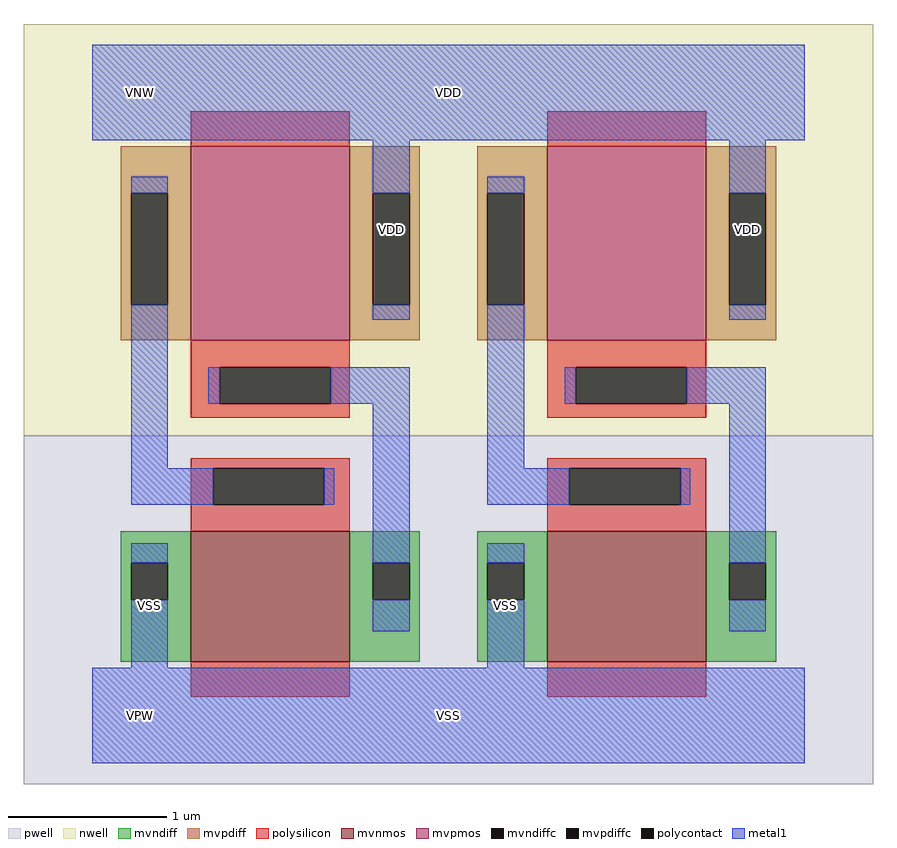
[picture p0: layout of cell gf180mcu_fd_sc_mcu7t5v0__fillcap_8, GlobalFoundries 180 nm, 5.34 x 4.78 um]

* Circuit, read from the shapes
.subckt gf180mcu_fd_sc_mcu7t5v0__fillcap_8 VDD VNW VPW VSS
XM1 n1 n2 VSS VPW nfet_06v0 w=0.82u l=1u
XM2 n3 n4 VSS VPW nfet_06v0 w=0.82u l=1u
XM3 VDD n1 n2 VNW pfet_06v0 w=1.22u l=1u
XM4 VDD n3 n4 VNW pfet_06v0 w=1.22u l=1u
.ends

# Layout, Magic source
magic
tech gf180mcuD
magscale 1 10
<< nwell >>
rect -86 352 982 870
<< pwell >>
rect -86 -86 982 352
<< mvnmos >>
rect 124 68 324 232
rect 572 68 772 232
<< mvpmos >>
rect 124 472 324 716
rect 572 472 772 716
<< mvndiff >>
rect 36 192 124 232
rect 36 146 49 192
rect 95 146 124 192
rect 36 68 124 146
rect 324 192 412 232
rect 324 146 353 192
rect 399 146 412 192
rect 324 68 412 146
rect 484 192 572 232
rect 484 146 497 192
rect 543 146 572 192
rect 484 68 572 146
rect 772 192 860 232
rect 772 146 801 192
rect 847 146 860 192
rect 772 68 860 146
<< mvpdiff >>
rect 36 657 124 716
rect 36 517 49 657
rect 95 517 124 657
rect 36 472 124 517
rect 324 657 412 716
rect 324 517 353 657
rect 399 517 412 657
rect 324 472 412 517
rect 484 657 572 716
rect 484 517 497 657
rect 543 517 572 657
rect 484 472 572 517
rect 772 657 860 716
rect 772 517 801 657
rect 847 517 860 657
rect 772 472 860 517
<< mvndiffc >>
rect 49 146 95 192
rect 353 146 399 192
rect 497 146 543 192
rect 801 146 847 192
<< mvpdiffc >>
rect 49 517 95 657
rect 353 517 399 657
rect 497 517 543 657
rect 801 517 847 657
<< polysilicon >>
rect 124 716 324 760
rect 572 716 772 760
rect 124 438 324 472
rect 124 392 160 438
rect 300 392 324 438
rect 124 375 324 392
rect 572 438 772 472
rect 572 392 608 438
rect 748 392 772 438
rect 572 375 772 392
rect 124 311 324 324
rect 124 265 152 311
rect 292 265 324 311
rect 124 232 324 265
rect 572 311 772 324
rect 572 265 600 311
rect 740 265 772 311
rect 572 232 772 265
rect 124 24 324 68
rect 572 24 772 68
<< polycontact >>
rect 160 392 300 438
rect 608 392 748 438
rect 152 265 292 311
rect 600 265 740 311
<< metal1 >>
rect 0 724 896 844
rect 49 657 95 678
rect 49 311 95 517
rect 353 657 399 724
rect 353 498 399 517
rect 497 657 543 678
rect 146 392 160 438
rect 300 392 399 438
rect 49 265 152 311
rect 292 265 304 311
rect 49 192 95 217
rect 49 60 95 146
rect 353 192 399 392
rect 497 311 543 517
rect 801 657 847 724
rect 801 498 847 517
rect 594 392 608 438
rect 748 392 847 438
rect 497 265 600 311
rect 740 265 752 311
rect 353 106 399 146
rect 497 192 543 217
rect 497 60 543 146
rect 801 192 847 392
rect 801 106 847 146
rect 0 -60 896 60
<< labels >>
flabel metal1 s 0 724 896 844 0 FreeSans 400 0 0 0 VDD
port 1 nsew power bidirectional abutment
flabel metal1 s 497 60 543 217 0 FreeSans 400 0 0 0 VSS
port 4 nsew ground bidirectional abutment
flabel nwell s 10 734 110 834 0 FreeSans 400 0 0 0 VNW
port 2 nsew power bidirectional
flabel pwell s 10 -50 110 50 0 FreeSans 400 0 0 0 VPW
port 3 nsew ground bidirectional
rlabel metal1 s 801 498 847 724 1 VDD
port 1 nsew power bidirectional abutment
rlabel metal1 s 353 498 399 724 1 VDD
port 1 nsew power bidirectional abutment
rlabel metal1 s 49 60 95 217 1 VSS
port 4 nsew ground bidirectional abutment
rlabel metal1 s 0 -60 896 60 1 VSS
port 4 nsew ground bidirectional abutment
<< properties >>
string FIXED_BBOX 0 0 896 784
string GDS_END 1160408
string GDS_FILE $PDKPATH/libs.ref/gf180mcu_fd_sc_mcu7t5v0/gds/gf180mcu_fd_sc_mcu7t5v0.gds
string GDS_START 1157008
string LEFclass core SPACER
string LEFsite GF018hv5v_mcu_sc7
string LEFsymmetry X Y
<< end >>
